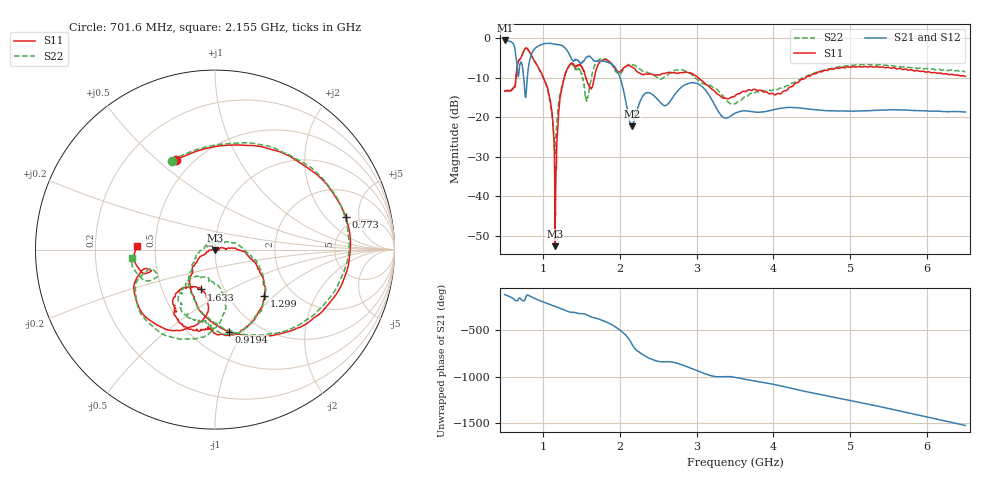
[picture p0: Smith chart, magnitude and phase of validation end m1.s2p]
# Hz S DB R 50
! CMT, S5065, 24347010, 24.3.4/3
! Date: 10/16/2024 1:06:09 AM
! Data: Format (Calibration Info)
! Freq	S11:dB/Ang(F2)	S21:dB/Ang(F2)	S12:dB/Ang(F2)	S22:dB/Ang(F2)
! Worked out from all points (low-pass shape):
!   10001 points, 500 MHz to 6.5 GHz, reference 50 ohm
!   highest |S21| = -0.55 dB at 500.6 MHz (marker M1); lowest = -22.2 dB at 2.155 GHz (marker M2)
!   |S21| within 3 dB of the highest: start of sweep to 640.2 MHz; 860.7 MHz to 1.33 GHz (469.1 MHz wide, 42.8 % of centre)
!   lowest |S11| = -52.6 dB at 1.158 GHz (marker M3), VSWR 1.00, Z = 50 - j0.235 ohm
!   |S11| at or under -10 dB: start of sweep to 645.7 MHz; 1.005 GHz to 1.275 GHz (269.3 MHz wide, 23.6 % of centre); 3.023 GHz to 4.417 GHz (1.394 GHz wide, 37.5 % of centre)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
!   |S22| runs from -29.1 to -2.5 dB; largest |S21 - S12| = 0.0095
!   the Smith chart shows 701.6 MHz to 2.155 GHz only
!   S11 on the Smith chart (normalised r, x): 701.6 MHz: 0.41, +0.57; 773 MHz: 4.12, +3.40; 919.4 MHz: 0.74, -0.86; 1.299 GHz: 1.45, -0.86; 1.633 GHz: 0.78, -0.37; 2.155 GHz: 0.39, +0.02
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5e8  -13.35 -30.6  -0.55 -123.2  -0.55 -123.1  -13.40 -33.1
5.006e8  -13.34 -30.7  -0.55 -123.4  -0.55 -123.3  -13.39 -33.3
6.416e8  -11.05 -99.2  -3.80 171.9  -3.79 171.8  -11.53 -107.3
7.016e8  -5.28 113.7  -6.40 -164.0  -6.40 -164.0  -5.20 116.0
7.73e8  -2.49 13.9  -14.96 -160.8  -15.02 -160.0  -2.56 17.6
8.336e8  -3.77 -41.1  -4.98 -141.6  -4.95 -141.5  -3.84 -37.6
9.194e8  -6.67 -80.5  -2.17 -175.8  -2.15 -175.8  -6.77 -79.6
1.0856e9  -14.97 -134.8  -1.25 131.0  -1.22 131.3  -15.78 -139.9
1.1576e9  -52.57 -90.9  -1.50 109.8  -1.46 109.6  -28.93 73.5
1.2992e9  -8.52 -43.3  -2.72 64.1  -2.73 64.2  -8.65 -42.1
1.5002e9  -7.16 -117.8  -6.23 32.6  -6.17 32.7  -8.97 -122.2
1.6328e9  -12.59 -109.0  -4.97 -4.4  -4.98 -4.3  -9.80 -79.2
1.889e9  -6.31 -157.7  -6.48 -82.2  -6.46 -82.2  -6.43 -157.2
2.0072e9  -8.41 -161.1  -10.15 -146.8  -10.14 -146.9  -9.03 -155.1
2.1548e9  -7.24 177.4  -22.21 70.9  -22.18 70.7  -6.64 -174.2
2.1554e9  -7.25 177.3  -22.20 70.1  -22.18 69.7  -6.64 -174.3
2.5004e9  -9.27 158.8  -15.63 -116.6  -15.65 -116.9  -10.00 154.9
2.9762e9  -9.37 111.7  -11.27 154.0  -11.26 153.3  -9.89 109.8
3.5e9  -14.58 112.6  -18.98 73.4  -18.99 72.7  -16.57 109.5
4.5002e9  -9.17 90.6  -17.98 -92.9  -18.00 -93.9  -9.19 91.7
5.5004e9  -7.35 11.2  -18.12 99.1  -18.16 98.3  -6.98 10.1
6.5e9  -9.63 -65.2  -18.64 -81.7  -18.67 -80.8  -8.48 -65.9
